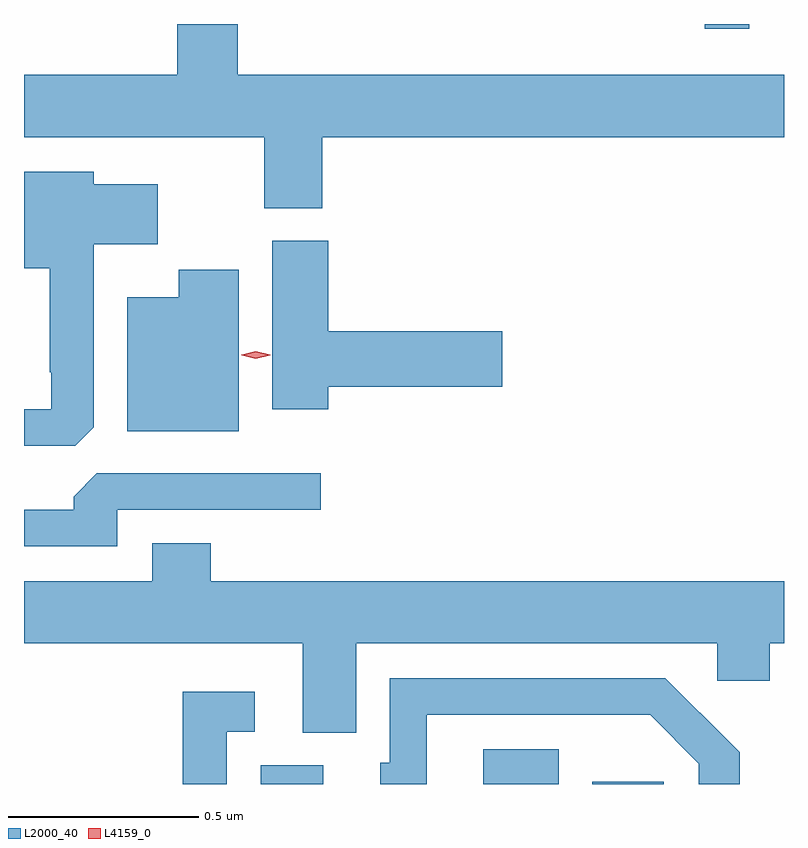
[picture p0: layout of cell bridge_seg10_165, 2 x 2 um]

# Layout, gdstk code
import gdstk
lib = gdstk.Library(unit=1e-6, precision=1e-09)
def R(c, l, rs):  # rectangles x0, y0, x1, y1
    for r in rs: c.add(gdstk.rectangle(r[:2], r[2:], *l))
def P(c, l, *ps):  # polygons
    for p in ps: c.add(gdstk.Polygon(p, *l))
L2000_40 = (2000, 40)
L4159_0 = (4159, 0)

bridge_seg10_165 = lib.new_cell('bridge_seg10_165')
R(bridge_seg10_165, L2000_40, [(241.022,1269.31,241.186,1269.36), (241.608,1269.31,241.806,1269.402), (241.895,1269.31,242.083,1269.316), (242.191,1271.298,242.308,1271.31)])
P(bridge_seg10_165, L2000_40, [(241.184,1271.012),(242.399,1271.012),(242.399,1271.176),(240.962,1271.176),(240.962,1271.31),(240.802,1271.31),(240.802,1271.176),(240.399,1271.176),(240.399,1271.012),(241.031,1271.012),(241.031,1270.825),(241.184,1270.825)],
  [(240.583,1270.249),(240.583,1270.73),(240.751,1270.73),(240.751,1270.888),(240.583,1270.888),(240.583,1270.921),(240.399,1270.921),(240.399,1270.667),(240.467,1270.667),(240.467,1270.393),(240.471,1270.393),(240.471,1270.296),(240.399,1270.296),(240.399,1270.2),(240.534,1270.2)],
  [(241.199,1270.355),(241.657,1270.355),(241.657,1270.502),(241.199,1270.502),(241.199,1270.74),(241.052,1270.74),(241.052,1270.296),(241.199,1270.296)],
  [(240.964,1270.663),(240.806,1270.663),(240.806,1270.591),(240.671,1270.591),(240.671,1270.238),(240.964,1270.238)],
  [(240.645,1270.032),(241.18,1270.032),(241.18,1270.128),(240.591,1270.128),(240.53,1270.066),(240.53,1270.032),(240.399,1270.032),(240.399,1269.936),(240.645,1269.936)],
  [(241.273,1269.68),(242.223,1269.68),(242.223,1269.582),(242.362,1269.582),(242.362,1269.68),(242.399,1269.68),(242.399,1269.844),(240.89,1269.844),(240.89,1269.943),(240.737,1269.943),(240.737,1269.844),(240.399,1269.844),(240.399,1269.68),(241.133,1269.68),(241.133,1269.445),(241.273,1269.445)],
  [(241.459,1269.492),(242.047,1269.492),(242.175,1269.363),(242.175,1269.31),(242.283,1269.31),(242.283,1269.393),(242.178,1269.498),(242.177,1269.497),(242.086,1269.588),(241.362,1269.588),(241.362,1269.366),(241.337,1269.366),(241.337,1269.31),(241.459,1269.31)],
  [(240.933,1269.447),(241.006,1269.447),(241.006,1269.553),(240.817,1269.553),(240.817,1269.31),(240.933,1269.31)])
P(bridge_seg10_165, L4159_0, [(241.009,1270.429),(240.972,1270.438),(240.971,1270.439),(240.972,1270.439),(241.009,1270.449),(241.047,1270.439),(241.047,1270.439),(241.047,1270.438)])

lib.write_gds('bridge_seg10_165.gds')
